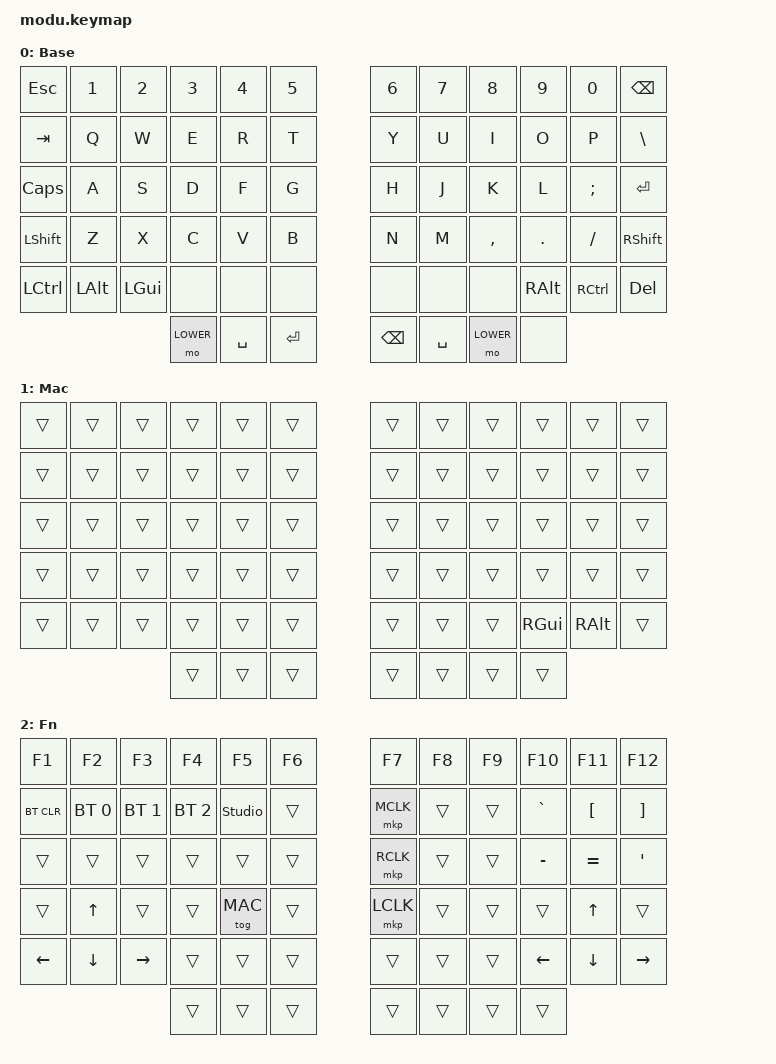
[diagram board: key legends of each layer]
/*
 * Copyright (c) 2026 EKS Inc.
 * Created by Ryu.
 * SPDX-License-Identifier: LicenseRef-EKS-NonCommercial-1.0
 *
 * See KEYMAP.md for the layout drawn out, including the Shift combinations.
 */

#include <behaviors.dtsi>
#include <dt-bindings/zmk/keys.h>
#include <dt-bindings/zmk/bt.h>
#include <dt-bindings/zmk/pointing.h>

#define BASE  0
#define MAC   1
#define LOWER 2

/*
 * Names for the pointing behaviours, which ZMK ships without.
 *
 * ⚠️ Every other behaviour carries a display-name and these two do not, so a
 * Studio client lists them by their devicetree node names - "mouse_move",
 * "mouse_scroll" - in the same menu as "Key Press" and "Momentary Layer".
 *
 * Set here rather than patched into ZMK: it is a devicetree property, and a
 * property can be overridden from the shield.
 */
&mmv {
    display-name = "Mouse Move";
};

&msc {
    display-name = "Mouse Scroll";
};

/ {
    combos {
        compatible = "zmk,combos";

        /*
         * Hold either MO, then press the physical 5, 6 and J keys.
         *
         * Ported from upstream (22sh22 7ac3379), with two changes forced by
         * how this fork's layers differ:
         *
         * - Layer 1 -> LOWER (2). Upstream's function layer is 1; here 1 is
         *   mac_layer. ZMK matches combos against the *highest* active layer
         *   (combo_active_on_layer in app/src/combo.c), so layer 1 would only
         *   arm this while the macOS overlay is on top and MO is not held.
         *
         * - Position 48 -> 31. A combo swallows its keys until it resolves, so
         *   whatever sits at those positions on this layer goes mute: a tap
         *   only lands on release, and a held key waits out timeout-ms. On
         *   upstream's layer 48 is &trans, but this fork moved the arrow
         *   cluster down a row and 48 is the left-hand LEFT arrow - holding it
         *   to walk the cursor would stall for half a second. Position 31 is
         *   the `J` slot, &trans here: nobody types a letter while holding MO.
         *   Note it must stay off 33 (`L`), which carries `-`.
         *
         * Nothing changes on the base layer - without MO held the combo is
         * never even a candidate.
         */
        system_reset_combo {
            timeout-ms = <500>;
            key-positions = <5 6 31>;
            bindings = <&sys_reset>;
            layers = <LOWER>;
        };

        /*
         * Hold either MO, then press the physical 5, 6 and F keys to reboot
         * into the UF2 bootloader - the same state the reset button reaches
         * when tapped twice, so MODU_BOOT appears and a .uf2 can be copied.
         *
         * Shares the 5/6 anchors with system_reset_combo and splits on the
         * third key: reset takes the right hand (31, `J`), this takes the
         * left (28, `F`). Both are &trans on this layer, so neither combo
         * mutes a key that does something here. Keeping them a hand apart
         * is deliberate - the two outcomes are not interchangeable and a
         * misroll should not reach the other one.
         *
         * A plain key was the alternative and is worse: one stray press and
         * the keyboard sits in DFU and stops typing.
         *
         * ⚠️ This reboots the LEFT half only, whichever half the keys are on.
         * &bootloader is BEHAVIOR_LOCALITY_EVENT_SOURCE, but combo.c hardcodes
         * the binding event's source to ZMK_POSITION_STATE_CHANGE_SOURCE_LOCAL
         * and that path invokes locally (app/src/behavior.c) - a combo has no
         * one key position to attribute, so there is no peripheral to send it
         * to. The right half is still flashed via its own reset button.
         *
         * ⚠️ This is convenience, not a rescue path. It only works while the
         * keymap still has this layer and these positions - exactly what is
         * missing when a bad keymap is the problem. The reset button stays
         * the way out of that; see KEYMAP.md.
         */
        bootloader_combo {
            timeout-ms = <500>;
            key-positions = <5 6 28>;
            bindings = <&bootloader>;
            layers = <LOWER>;
        };
    };

    keymap {
        compatible = "zmk,keymap";

        default_layer {
            display-name = "Base";
// -----------------------------------------------------------------------
// |ESC | 1  | 2  | 3  | 4  | 5  |   | 6  | 7  | 8  | 9  | 0  |BSPC|
// |TAB | Q  | W  | E  | R  | T  |   | Y  | U  | I  | O  | P  | \  |
// |CAPS| A  | S  | D  | F  | G  |   | H  | J  | K  | L  | ;  |RET |
// |LSFT| Z  | X  | C  | V  | B  |   | N  | M  | ,  | .  | /  |RSFT|
// |LCTL|LALT|LGUI|                            |RALT|RCTL|DEL |
//            |MO  |SPC |RET |   |BSPC|SPC |MO  |////|
//
// Hangul toggle is RALT on Windows and CAPS on macOS, matching what each
// platform already uses. `\` doubles as the Won sign under a Hangul IME.
//
// The outermost key of the right thumb group (////) has no switch fitted -
// the module takes up that end of the cluster - so it is left as &none.
            bindings = <
&kp ESC   &kp N1   &kp N2    &kp N3    &kp N4    &kp N5      &kp N6    &kp N7    &kp N8    &kp N9    &kp N0     &kp BSPC
&kp TAB   &kp Q    &kp W     &kp E     &kp R     &kp T       &kp Y     &kp U     &kp I     &kp O     &kp P      &kp BSLH
&kp CAPS  &kp A    &kp S     &kp D     &kp F     &kp G       &kp H     &kp J     &kp K     &kp L     &kp SEMI   &kp RET
&kp LSHFT &kp Z    &kp X     &kp C     &kp V     &kp B       &kp N     &kp M     &kp COMMA &kp DOT   &kp FSLH   &kp RSHFT
&kp LCTRL &kp LALT &kp LGUI  &none     &none     &none       &none     &none     &none     &kp RALT  &kp RCTRL  &kp DEL
                             &mo LOWER &kp SPACE &kp RET     &kp BSPC  &kp SPACE &mo LOWER &none
            >;
        };

        /*
         * macOS overlay - toggled on/off with `LOWER + V`.
         *
         * Sits below LOWER on purpose: every position that is not OS specific
         * stays &trans so the LOWER layer keeps working unchanged on top of it.
         * Only add keys here that must differ between Windows and macOS.
         *
         * Right-hand mods: RALT/RCTRL -> RGUI/RALT, so the key beside the
         * space bar is Command and the one outside it is Option, mirroring
         * Ctrl/Option/Command on the left half.
         */
        mac_layer {
            display-name = "Mac";
            bindings = <
&trans    &trans   &trans    &trans    &trans    &trans      &trans    &trans    &trans    &trans    &trans     &trans
&trans    &trans   &trans    &trans    &trans    &trans      &trans    &trans    &trans    &trans    &trans     &trans
&trans    &trans   &trans    &trans    &trans    &trans      &trans    &trans    &trans    &trans    &trans     &trans
&trans    &trans   &trans    &trans    &trans    &trans      &trans    &trans    &trans    &trans    &trans     &trans
&trans    &trans   &trans    &trans    &trans    &trans      &trans    &trans    &trans    &kp RGUI  &kp RALT   &trans
                             &trans    &trans    &trans      &trans    &trans    &trans    &trans
            >;
        };

        lower_layer {
            display-name = "Fn";
// -----------------------------------------------------------------------
// | F1 | F2 | F3 | F4 | F5 | F6 |   | F7 | F8 | F9 |F10 |F11 |F12 |
// |BTCL|BT0 |BT1 |BT2 |STUD|    |   |MCLK|    |    | `  | [  | ]  |
// |    |    |    |    |    |    |   |RCLK|    |    | -  | =  | '  |
// |    | UP |    |    |MAC |    |   |LCLK|    |    |    | UP |    |
// |LEFT|DOWN|RGHT|                            |LEFT|DOWN|RGHT|
//
// Arrows form a proper cross on both halves: UP sits directly above DOWN.

//
// STUD is `&studio_unlock`. ZMK Studio locks the keyboard against edits by
// default and this is the only way to grant it - without a key bound to it
// Studio connects but every change is refused. Placed beside the BT keys
// because it belongs to the same "manage the device" group; move it freely.
            bindings = <
&kp F1     &kp F2       &kp F3       &kp F4       &kp F5    &kp F6      &kp F7    &kp F8    &kp F9    &kp F10    &kp F11    &kp F12
&bt BT_CLR &bt BT_SEL 0 &bt BT_SEL 1 &bt BT_SEL 2 &studio_unlock &trans   &mkp MCLK &trans    &trans    &kp GRAVE  &kp LBKT   &kp RBKT
&trans     &trans       &trans       &trans       &trans    &trans      &mkp RCLK &trans    &trans    &kp MINUS  &kp EQUAL  &kp SQT
&trans     &kp UP       &trans       &trans       &tog MAC  &trans      &mkp LCLK &trans    &trans    &trans     &kp UP     &trans
&kp LEFT   &kp DOWN     &kp RIGHT    &trans       &trans    &trans      &trans    &trans    &trans    &kp LEFT   &kp DOWN   &kp RIGHT
                                     &trans       &trans    &trans      &trans    &trans    &trans    &trans
            >;
        };
    };
};
